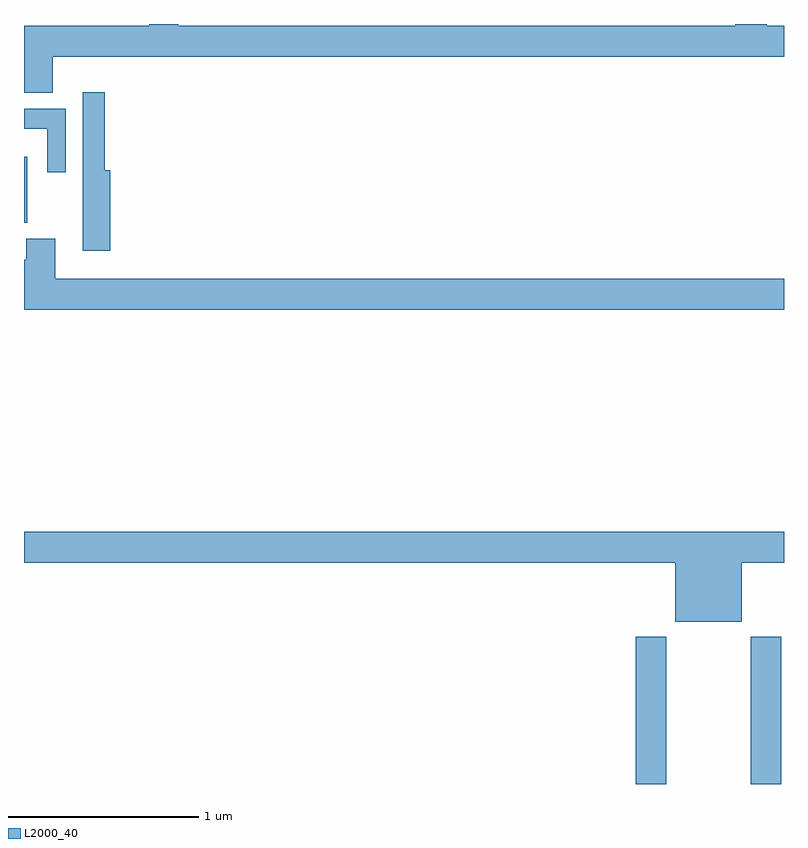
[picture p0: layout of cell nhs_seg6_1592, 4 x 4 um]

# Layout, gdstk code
import gdstk
lib = gdstk.Library(unit=1e-6, precision=1e-09)
def R(c, l, rs):  # rectangles x0, y0, x1, y1
    for r in rs: c.add(gdstk.rectangle(r[:2], r[2:], *l))
def P(c, l, *ps):  # polygons
    for p in ps: c.add(gdstk.Polygon(p, *l))
L2000_40 = (2000, 40)

nhs_seg6_1592 = lib.new_cell('nhs_seg6_1592')
R(nhs_seg6_1592, L2000_40, [(210.221,951.5,210.381,952.276), (210.826,951.5,210.986,952.276), (207,954.454,207.016,954.801)])
P(nhs_seg6_1592, L2000_40, [(207.151,955.328),(211,955.328),(211,955.492),(210.908,955.492),(210.908,955.5),(210.743,955.5),(210.743,955.492),(207.812,955.492),(207.812,955.5),(207.659,955.5),(207.659,955.492),(207,955.492),(207,955.139),(207.151,955.139)],
  [(207.455,954.73),(207.425,954.73),(207.425,955.141),(207.309,955.141),(207.309,954.626),(207.308,954.626),(207.308,954.306),(207.455,954.306)],
  [(207.219,955.054),(207,955.054),(207,954.95),(207.123,954.95),(207.123,954.72),(207.219,954.72)],
  [(211,954.16),(207.164,954.16),(207.164,954.369),(207.011,954.369),(207.011,954.26),(207,954.26),(207,953.996),(211,953.996)],
  [(207,952.664),(210.428,952.664),(210.428,952.355),(210.778,952.355),(210.778,952.664),(211,952.664),(211,952.828),(207,952.828)])

lib.write_gds('nhs_seg6_1592.gds')
